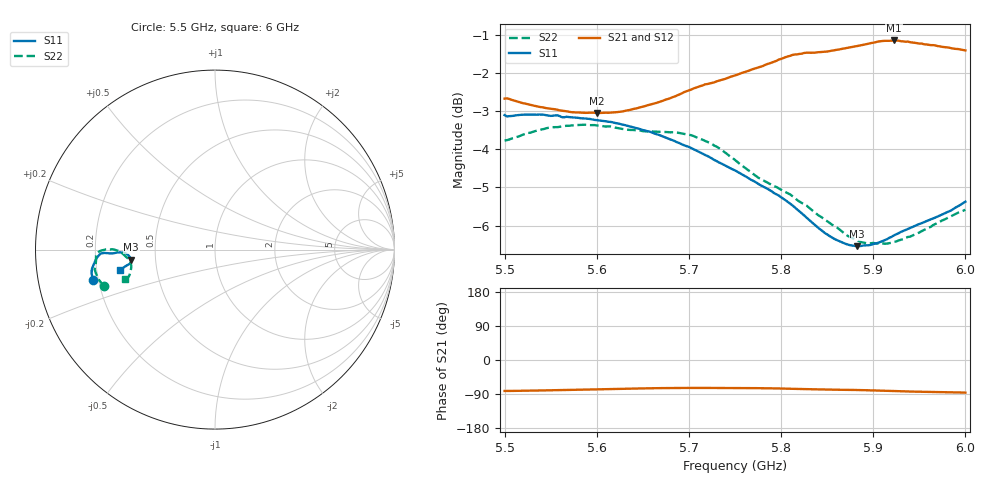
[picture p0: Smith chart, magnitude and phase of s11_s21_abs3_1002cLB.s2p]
! MS46122B
! 1919307/90821646
! 7/29/2022 12:27:21 PM
! C:\USERS\PC_\DESKTOP\MEDICIONES\BANCHA ESTRECHA\55_6GHZ\S11_S21_ABS3_1002CL.S2P
! CHANNEL.1
! TR.MEASUREMENT
! CORRECTED.DATA
# GHZ S RI R 50.0
! FREQ.GHZ  S11RE  S11IM  S21RE  S21IM  S12RE  S12IM  S22RE  S22IM
!; PortSelection: Port_12
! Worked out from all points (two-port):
!   201 points, 5.5 GHz to 6 GHz, reference 50 ohm
!   highest |S21| = -1.15 dB at 5.923 GHz (marker M1); lowest = -3.1 dB at 5.6 GHz (marker M2)
!   |S21| within 3 dB of the highest: start of sweep to end of sweep
!   lowest |S11| = -6.5 dB at 5.883 GHz (marker M3), VSWR 2.78, Z = 18 - j2.58 ohm
!   |S11| at or under -10 dB: nowhere
!   |S22| runs from -6.5 to -3.4 dB; largest |S21 - S12| = 0.015
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5.5  -0.6786 -0.1687  0.1061 -0.7271  0.1133 -0.7259  -0.6157 -0.2007
5.52  -0.6833 -0.1524  0.1111 -0.7161  0.1187 -0.7102  -0.6323 -0.1872
5.5475  -0.6867 -0.1265  0.1229 -0.7028  0.1336 -0.6966  -0.655 -0.1545
5.585  -0.6844 -0.1046  0.1417 -0.6899  0.1551 -0.6851  -0.6699 -0.112
5.6  -0.6817 -0.0977  0.1517 -0.6869  0.1653 -0.6836  -0.67 -0.1019
5.63  -0.6741 -0.0792  0.1721 -0.6867  0.1845 -0.683  -0.6649 -0.0825
5.6675  -0.6572 -0.0443  0.1969 -0.7001  0.2092 -0.6978  -0.6632 -0.0487
5.705  -0.6307 -0.0213  0.2122 -0.7273  0.2237 -0.7259  -0.6562 -0.0188
5.725  -0.6131 -0.019  0.2155 -0.7396  0.2266 -0.7411  -0.6409 -0.00799
5.75  -0.5915 -0.0206  0.2164 -0.7575  0.225 -0.7578  -0.6107 0.00047
5.77  -0.573 -0.0211  0.22 -0.7728  0.2261 -0.7729  -0.5854 0.00111
5.79  -0.5552 -0.019  0.2142 -0.7907  0.2246 -0.79  -0.5663 0.000634
5.8125  -0.5322 -0.0154  0.2035 -0.8132  0.2122 -0.8123  -0.5475 -0.00503
5.835  -0.5038 -0.0182  0.1856 -0.8231  0.1945 -0.8229  -0.5231 -0.0167
5.8575  -0.4806 -0.0335  0.1727 -0.8321  0.1795 -0.8293  -0.4995 -0.0362
5.8825  -0.4678 -0.0557  0.1598 -0.846  0.1706 -0.8416  -0.4755 -0.0611
5.9175  -0.4765 -0.0797  0.1288 -0.8651  0.1333 -0.8608  -0.4661 -0.0938
5.9225  -0.4799 -0.0811  0.1234 -0.8668  0.128 -0.8617  -0.4667 -0.0988
5.935  -0.487 -0.0862  0.1117 -0.8651  0.1108 -0.8595  -0.4695 -0.1134
5.9425  -0.4913 -0.0881  0.1002 -0.8645  0.105 -0.8564  -0.4707 -0.1222
5.9675  -0.5043 -0.0972  0.0831 -0.8585  0.0879 -0.8463  -0.4806 -0.1507
6  -0.5268 -0.1121  0.059 -0.8476  0.0696 -0.8407  -0.4995 -0.1634
